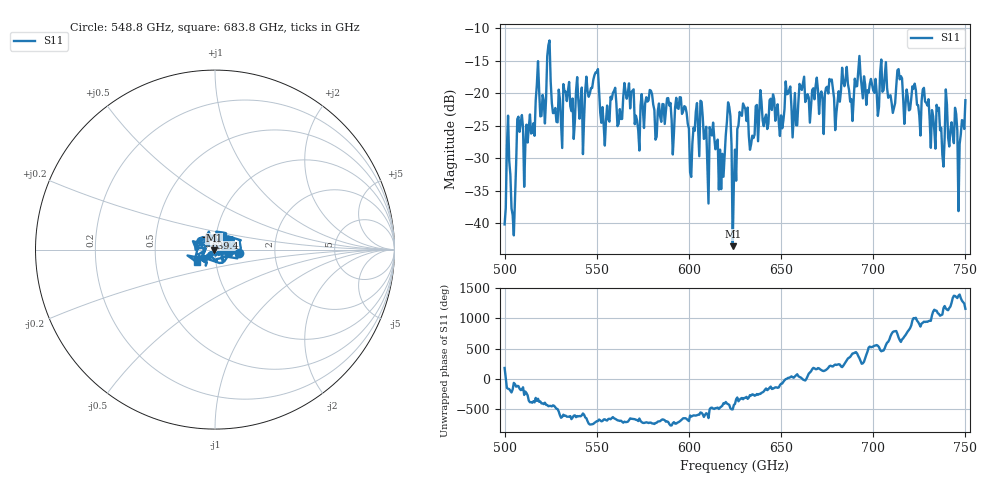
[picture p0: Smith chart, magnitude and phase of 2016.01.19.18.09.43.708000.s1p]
!Created with skrf (http://scikit-rf.org).
# GHz S RI R 50.0
!freq ReS11 ImS11
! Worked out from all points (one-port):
!   401 points, 500 GHz to 750 GHz, reference 50 ohm
!   lowest |S11| = -43.6 dB at 623.8 GHz (marker M1), VSWR 1.01, Z = 49.4 - j0.365 ohm
!   |S11| at or under -10 dB: start of sweep to end of sweep
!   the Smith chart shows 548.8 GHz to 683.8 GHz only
!   S11 on the Smith chart (normalised r, x): 548.8 GHz: 1.31, -0.06; 639.4 GHz: 0.89, +0.12; 683.8 GHz: 0.81, -0.12
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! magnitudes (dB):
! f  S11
! 500 GHz  -40.2
! 501.9 GHz  -23.5
! 505 GHz  -41.9
! 508.1 GHz  -26.0
! 511.9 GHz  -24.9
! 523.8 GHz  -12.7
! 527.5 GHz  -22.3
! 531.2 GHz  -28.5
! 548.8 GHz  -17.2
! 553.1 GHz  -22.2
! 562.5 GHz  -22.5
! 566.2 GHz  -20.9
! 571.9 GHz  -24.2
! 593.8 GHz  -22.3
! 617.5 GHz  -34.8
! 621.2 GHz  -21.4
! 623.8 GHz  -43.6
! 625 GHz  -28.7
! 628.8 GHz  -23.5
! 633.8 GHz  -27.9
! 639.4 GHz  -21.4
! 656.2 GHz  -26.8
! 683.8 GHz  -18.3
! 687.5 GHz  -21.3
! 714.4 GHz  -17.9
! 718.8 GHz  -20.6
! 746.9 GHz  -27.8
! 750 GHz  -21.1
